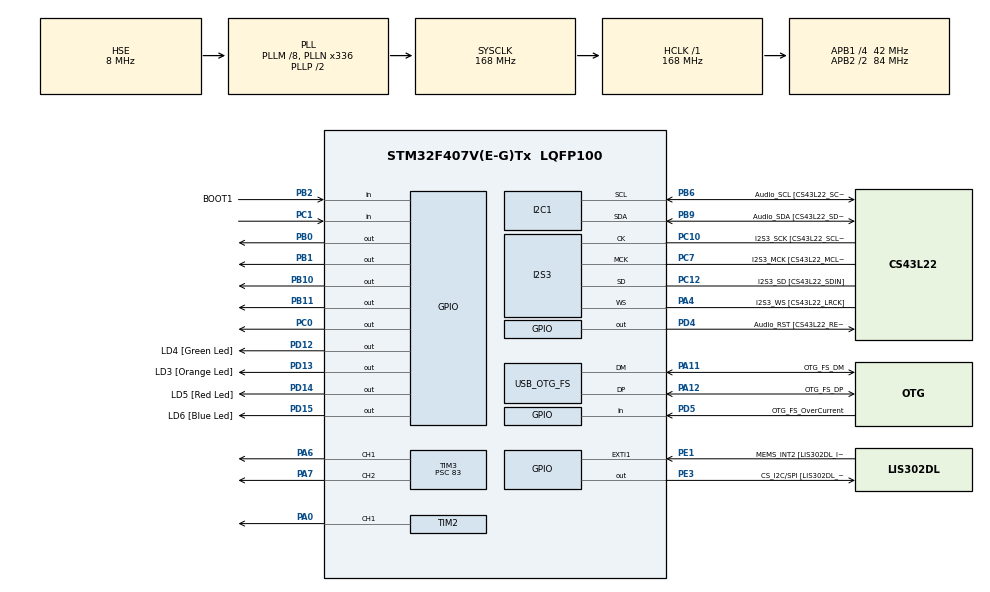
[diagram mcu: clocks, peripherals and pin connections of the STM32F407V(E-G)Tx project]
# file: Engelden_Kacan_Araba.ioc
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I2S3.AudioFreq-Half_Duplex_Master=I2S_AUDIOFREQ_96K
I2S3.ErrorAudioFreq=-2.34 %
I2S3.ErrorAudioFreq-Half_Duplex_Master=0.8 %
I2S3.FullDuplexMode=I2S_FULLDUPLEXMODE_DISABLE
I2S3.Instance=SPI$Index
I2S3.RealAudioFreq=93.75 KHz
I2S3.RealAudioFreq-Half_Duplex_Master=96.774 KHz
I2S3.VirtualMode=I2S_MODE_MASTER
Mcu.Family=STM32F4
Mcu.Name=STM32F407V(E-G)Tx
Mcu.Package=LQFP100
NVIC.OTG_FS_IRQn=true\:0\:0\:false\:false\:true\:true\:true\:true
NVIC.PriorityGroup=NVIC_PRIORITYGROUP_0
PA0-WKUP.Signal=S_TIM2_CH1_ETR
PA10.GPIO_Label=OTG_FS_ID
PA10.GPIO_Mode=GPIO_MODE_AF_PP
PA10.GPIO_PuPd=GPIO_NOPULL
PA10.GPIO_Speed=GPIO_SPEED_FREQ_LOW
PA10.Signal=USB_OTG_FS_ID
PA11.GPIO_Label=OTG_FS_DM
PA11.GPIO_Mode=GPIO_MODE_AF_PP
PA11.GPIO_PuPd=GPIO_NOPULL
PA11.GPIO_Speed=GPIO_SPEED_FREQ_LOW
PA11.Mode=Host_Only
PA11.Signal=USB_OTG_FS_DM
PA12.GPIO_Label=OTG_FS_DP
PA12.GPIO_Mode=GPIO_MODE_AF_PP
PA12.GPIO_PuPd=GPIO_NOPULL
PA12.GPIO_Speed=GPIO_SPEED_FREQ_LOW
PA12.Mode=Host_Only
PA12.Signal=USB_OTG_FS_DP
PA13.GPIO_Label=SWDIO
PA13.Mode=Serial_Wire
PA13.Signal=SYS_JTMS-SWDIO
PA14.GPIO_Label=SWCLK
PA14.Mode=Serial_Wire
PA14.Signal=SYS_JTCK-SWCLK
PA4.GPIO_Label=I2S3_WS [CS43L22_LRCK]
PA4.GPIO_Mode=GPIO_MODE_AF_PP
PA4.GPIO_PuPd=GPIO_NOPULL
PA4.GPIO_Speed=GPIO_SPEED_FREQ_LOW
PA4.Mode=Half_Duplex_Master
PA4.Signal=I2S3_WS
PA5.GPIO_Label=SPI1_SCK [LIS302DL_SCL/SPC]
PA5.GPIO_Mode=GPIO_MODE_AF_PP
PA5.GPIO_PuPd=GPIO_NOPULL
PA5.GPIO_Speed=GPIO_SPEED_FREQ_LOW
PA5.Signal=SPI1_SCK
PA6.Signal=S_TIM3_CH1
PA7.Signal=S_TIM3_CH2
PB0.GPIO_PuPd=GPIO_NOPULL
PB0.Signal=GPIO_Output
PB1.Signal=GPIO_Output
PB10.Signal=GPIO_Output
PB11.Signal=GPIO_Output
PB2.GPIO_Label=BOOT1
PB2.GPIO_Mode=GPIO_MODE_INPUT
PB2.GPIO_PuPd=GPIO_NOPULL
PB2.Signal=GPIO_Input
PB3.GPIO_Label=SWO
PB3.Signal=SYS_JTDO-SWO
PB6.GPIO_Label=Audio_SCL [CS43L22_SCL]
PB6.GPIO_Mode=GPIO_MODE_AF_OD
PB6.GPIO_Pu=GPIO_PULLUP
PB6.GPIO_PuPd=GPIO_NOPULL
PB6.GPIO_Speed=GPIO_SPEED_FREQ_LOW
PB6.Mode=I2C
PB6.Signal=I2C1_SCL
PB9.GPIO_Label=Audio_SDA [CS43L22_SDA]
PB9.GPIO_Mode=GPIO_MODE_AF_OD
PB9.GPIO_Pu=GPIO_PULLUP
PB9.GPIO_PuPd=GPIO_NOPULL
PB9.GPIO_Speed=GPIO_SPEED_FREQ_LOW
PB9.Mode=I2C
PB9.Signal=I2C1_SDA
PC0.Signal=GPIO_Output
PC1.Signal=GPIO_Input
PC10.GPIO_Label=I2S3_SCK [CS43L22_SCLK]
PC10.GPIO_Mode=GPIO_MODE_AF_PP
PC10.GPIO_PuPd=GPIO_NOPULL
PC10.GPIO_Speed=GPIO_SPEED_FREQ_LOW
PC10.Mode=Half_Duplex_Master
PC10.Signal=I2S3_CK
PC12.GPIO_Label=I2S3_SD [CS43L22_SDIN]
PC12.GPIO_Mode=GPIO_MODE_AF_PP
PC12.GPIO_PuPd=GPIO_NOPULL
PC12.GPIO_Speed=GPIO_SPEED_FREQ_LOW
PC12.Mode=Half_Duplex_Master
PC12.Signal=I2S3_SD
PC14-OSC32_IN.GPIO_Label=PC14-OSC32_IN
PC14-OSC32_IN.Mode=LSE-External-Oscillator
PC14-OSC32_IN.Signal=RCC_OSC32_IN
PC15-OSC32_OUT.GPIO_Label=PC15-OSC32_OUT
PC15-OSC32_OUT.Mode=LSE-External-Oscillator
PC15-OSC32_OUT.Signal=RCC_OSC32_OUT
PC3.GPIO_Label=PDM_OUT [MP45DT02_DOUT]
PC3.GPIO_Mode=GPIO_MODE_AF_PP
PC3.GPIO_PuPd=GPIO_NOPULL
PC3.GPIO_Speed=GPIO_SPEED_FREQ_LOW
PC3.Signal=I2S2_SD
PC7.GPIO_Label=I2S3_MCK [CS43L22_MCLK]
PC7.GPIO_Mode=GPIO_MODE_AF_PP
PC7.GPIO_PuPd=GPIO_NOPULL
PC7.GPIO_Speed=GPIO_SPEED_FREQ_LOW
PC7.Mode=Master_Clock_Activated
PC7.Signal=I2S3_MCK
PD12.GPIO_Label=LD4 [Green Led]
PD12.GPIO_PuPd=GPIO_NOPULL
PD12.GPIO_Speed=GPIO_SPEED_FREQ_LOW
PD12.Signal=GPIO_Output
PD13.GPIO_Label=LD3 [Orange Led]
PD13.GPIO_PuPd=GPIO_NOPULL
PD13.GPIO_Speed=GPIO_SPEED_FREQ_LOW
PD13.Signal=GPIO_Output
PD14.GPIO_Label=LD5 [Red Led]
PD14.GPIO_PuPd=GPIO_NOPULL
PD14.GPIO_Speed=GPIO_SPEED_FREQ_LOW
PD14.Signal=GPIO_Output
PD15.GPIO_Label=LD6 [Blue Led]
PD15.GPIO_PuPd=GPIO_NOPULL
PD15.GPIO_Speed=GPIO_SPEED_FREQ_LOW
PD15.Signal=GPIO_Output
PD4.GPIO_Label=Audio_RST [CS43L22_RESET]
PD4.GPIO_PuPd=GPIO_NOPULL
PD4.GPIO_Speed=GPIO_SPEED_FREQ_LOW
PD4.Signal=GPIO_Output
PD5.GPIO_Label=OTG_FS_OverCurrent
PD5.GPIO_Mode=GPIO_MODE_INPUT
PD5.GPIO_PuPd=GPIO_NOPULL
PD5.Signal=GPIO_Input
PE1.GPIO_Label=MEMS_INT2 [LIS302DL_INT2]
PE1.GPIO_ModeDefaultEXTI=GPIO_MODE_EVT_RISING
PE1.GPIO_PuPd=GPIO_NOPULL
PE1.Signal=GPXTI1
PE3.GPIO_Label=CS_I2C/SPI [LIS302DL_CS_I2C/SPI]
PE3.GPIO_PuPd=GPIO_NOPULL
PE3.GPIO_Speed=GPIO_SPEED_FREQ_LOW
PE3.Signal=GPIO_Output
PH0-OSC_IN.GPIO_Label=PH0-OSC_IN
PH0-OSC_IN.Mode=HSE-External-Oscillator
PH0-OSC_IN.Signal=RCC_OSC_IN
PH1-OSC_OUT.GPIO_Label=PH1-OSC_OUT
PH1-OSC_OUT.Mode=HSE-External-Oscillator
PH1-OSC_OUT.Signal=RCC_OSC_OUT
ProjectManager.HeapSize=0x200
ProjectManager.StackSize=0x400
ProjectManager.TargetToolchain=STM32CubeIDE
RCC.48MHZClocksFreq_Value=48000000
RCC.AHBFreq_Value=168000000
RCC.APB1CLKDivider=RCC_HCLK_DIV4
RCC.APB1Freq_Value=42000000
RCC.APB1TimFreq_Value=84000000
RCC.APB2CLKDivider=RCC_HCLK_DIV2
RCC.APB2Freq_Value=84000000
RCC.APB2TimFreq_Value=168000000
RCC.CortexFreq_Value=168000000
RCC.HCLKFreq_Value=168000000
RCC.HSE_VALUE=8000000
RCC.HSI_VALUE=16000000
RCC.PLLM=8
RCC.PLLN=336
RCC.PLLQ=7
RCC.SYSCLKFreq_VALUE=168000000
RCC.SYSCLKSource=RCC_SYSCLKSOURCE_PLLCLK
RCC.VCOOutputFreq_Value=336000000
SH.S_TIM2_CH1_ETR.0=TIM2_CH1,PWM Generation1 CH1
SH.S_TIM3_CH1.0=TIM3_CH1,PWM Generation1 CH1
SH.S_TIM3_CH2.0=TIM3_CH2,PWM Generation2 CH2
TIM2.Channel-PWM\ Generation1\ CH1=TIM_CHANNEL_1
TIM2.Period=20000
TIM2.Prescaler=83
TIM2.Pulse-PWM\ Generation1\ CH1=1500
TIM3.Channel-PWM\ Generation1\ CH1=TIM_CHANNEL_1
TIM3.Channel-PWM\ Generation2\ CH2=TIM_CHANNEL_2
TIM3.OCMode_PWM-PWM\ Generation2\ CH2=TIM_OCMODE_PWM2
TIM3.Period=999
TIM3.Prescaler=83
TIM3.Pulse-PWM\ Generation1\ CH1=500
TIM3.Pulse-PWM\ Generation2\ CH2=500
USB_HOST.USBH_HandleTypeDef-CDC_FS=hUsbHostFS
USB_HOST.VirtualModeFS=Cdc
USB_OTG_FS.VirtualMode=Host_Only
USB_OTG_FS.phy_itface=HCD_PHY_EMBEDDED
VP_USB_HOST_VS_USB_HOST_CDC_FS.Mode=CDC_FS
board=STM32F407G-DISC1

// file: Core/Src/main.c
/* USER CODE BEGIN Header */
/**
  ******************************************************************************
  * @file           : main.c
  * @brief          : Main program body
  ******************************************************************************
  */
#include "main.h"
#include "usb_host.h"

#define TRIG_PIN GPIO_PIN_0
#define TRIG_PORT GPIOC
#define ECHO_PIN GPIO_PIN_1
#define ECHO_PORT GPIOC

// Motor IN pinleri (L298N için)
#define IN1_PIN GPIO_PIN_0
#define IN2_PIN GPIO_PIN_1
#define IN3_PIN GPIO_PIN_10
#define IN4_PIN GPIO_PIN_11
#define IN_PORT GPIOB

// Timer ve Channel tanımları
#define SERVO_TIM &htim2
#define SERVO_CHANNEL TIM_CHANNEL_1

#define MOTORA_TIM &htim3
#define MOTORA_CHANNEL TIM_CHANNEL_1  // PA6 - ENA

#define MOTORB_TIM &htim3
#define MOTORB_CHANNEL TIM_CHANNEL_2  // PA7 - ENB

I2C_HandleTypeDef hi2c1;
I2S_HandleTypeDef hi2s3;
TIM_HandleTypeDef htim2;
TIM_HandleTypeDef htim3;

void SystemClock_Config(void);
static void MX_GPIO_Init(void);
static void MX_I2C1_Init(void);
static void MX_I2S3_Init(void);
static void MX_TIM2_Init(void);
static void MX_TIM3_Init(void);
void MX_USB_HOST_Process(void);

/* USER CODE BEGIN 0 */

// HC-SR04 tetikleme fonksiyonu
void HC_SR04_Trigger(void){
    HAL_GPIO_WritePin(TRIG_PORT, TRIG_PIN, GPIO_PIN_SET);
    HAL_Delay(0.01); // 10 us
    HAL_GPIO_WritePin(TRIG_PORT, TRIG_PIN, GPIO_PIN_RESET);
}

// HC-SR04 mesafe ölçüm fonksiyonu (DÜZELTİLMİŞ)
uint32_t HC_SR04_Read(void){
    uint32_t timeout = 0;
    uint32_t start_time = 0;
    uint32_t end_time = 0;

    HC_SR04_Trigger();

    // Echo pininin yükselmesini bekle (timeout ile)
    timeout = 100000; // Timeout süresi
    while(HAL_GPIO_ReadPin(ECHO_PORT, ECHO_PIN) == GPIO_PIN_RESET){
        if(timeout-- == 0) return 999; // Timeout durumu
    }

    start_time = HAL_GetTick(); // Başlangıç zamanı

    // Echo pininin düşmesini bekle (timeout ile)
    timeout = 100000; // Timeout süresi
    while(HAL_GPIO_ReadPin(ECHO_PORT, ECHO_PIN) == GPIO_PIN_SET){
        if(timeout-- == 0) return 999; // Timeout durumu
    }

    end_time = HAL_GetTick(); // Bitiş zamanı

    // Süreyi cm'ye çevir (yaklaşık olarak)
    // 1ms = 17 cm (340 m/s ses hızı ile)
    uint32_t duration_ms = end_time - start_time;
    return (duration_ms * 17); // cm cinsinden mesafe
}

// Motor fonksiyonları
void MotorA_Forward(void){
    HAL_GPIO_WritePin(IN_PORT, IN1_PIN, GPIO_PIN_SET);
    HAL_GPIO_WritePin(IN_PORT, IN2_PIN, GPIO_PIN_RESET);
}

void MotorA_Backward(void){
    HAL_GPIO_WritePin(IN_PORT, IN1_PIN, GPIO_PIN_RESET);
    HAL_GPIO_WritePin(IN_PORT, IN2_PIN, GPIO_PIN_SET);
}

void MotorA_Stop(void){
    HAL_GPIO_WritePin(IN_PORT, IN1_PIN, GPIO_PIN_RESET);
    HAL_GPIO_WritePin(IN_PORT, IN2_PIN, GPIO_PIN_RESET);
}

void MotorB_Forward(void){
    HAL_GPIO_WritePin(IN_PORT, IN3_PIN, GPIO_PIN_SET);
    HAL_GPIO_WritePin(IN_PORT, IN4_PIN, GPIO_PIN_RESET);
}

void MotorB_Backward(void){
    HAL_GPIO_WritePin(IN_PORT, IN3_PIN, GPIO_PIN_RESET);
    HAL_GPIO_WritePin(IN_PORT, IN4_PIN, GPIO_PIN_SET);
}

void MotorB_Stop(void){
    HAL_GPIO_WritePin(IN_PORT, IN3_PIN, GPIO_PIN_RESET);
    HAL_GPIO_WritePin(IN_PORT, IN4_PIN, GPIO_PIN_RESET);
}

// Servo pozisyon ayarı (500-2500 us pulse width)
void Servo_SetPosition(uint16_t pulse){
    __HAL_TIM_SET_COMPARE(SERVO_TIM, SERVO_CHANNEL, pulse);
}

// Motor PWM hızı ayarı (0-1000)
void Motor_SetSpeed(uint16_t dutyA, uint16_t dutyB){
    __HAL_TIM_SET_COMPARE(MOTORA_TIM, MOTORA_CHANNEL, dutyA);
    __HAL_TIM_SET_COMPARE(MOTORB_TIM, MOTORB_CHANNEL, dutyB);
}

/* USER CODE END 0 */

int main(void)
{
  HAL_Init();
  SystemClock_Config();

  MX_GPIO_Init();
  MX_I2C1_Init();
  MX_I2S3_Init();
  MX_USB_HOST_Init();
  MX_TIM2_Init();
  MX_TIM3_Init();

  // PWM başlat
  HAL_TIM_PWM_Start(SERVO_TIM, SERVO_CHANNEL);
  HAL_TIM_PWM_Start(MOTORA_TIM, MOTORA_CHANNEL);
  HAL_TIM_PWM_Start(MOTORB_TIM, MOTORB_CHANNEL);

  // Servo başlangıç pozisyonu (90° - orta nokta)
  Servo_SetPosition(1500);
  HAL_Delay(1000);

  uint8_t turn_direction = 0; // Dönüş yönü için değişken

  while (1)
  {
      MX_USB_HOST_Process();

      uint32_t distance = HC_SR04_Read(); // mesafe ölçümü

      if(distance < 20){ // 20 cm altı engel
          // Geri git
          MotorA_Backward();
          MotorB_Backward();
          Motor_SetSpeed(500, 500); // yarım hız geri
          HAL_Delay(500);

          // Dur
          MotorA_Stop();
          MotorB_Stop();
          HAL_Delay(200);

          // Dönüş yönünü değiştir (sağa veya sola)
          if(turn_direction == 0) {
              // Sağa dön
              MotorA_Forward();
              MotorB_Backward();
              Motor_SetSpeed(700, 700);
              turn_direction = 1;
          } else {
              // Sola dön
              MotorA_Backward();
              MotorB_Forward();
              Motor_SetSpeed(700, 700);
              turn_direction = 0;
          }
          HAL_Delay(300);

      } else {
          // Düz ileri
          MotorA_Forward();
          MotorB_Forward();
          Motor_SetSpeed(700, 700); // ileri hız
      }

      HAL_Delay(100);
  }
}

void SystemClock_Config(void)
{
  RCC_OscInitTypeDef RCC_OscInitStruct = {0};
  RCC_ClkInitTypeDef RCC_ClkInitStruct = {0};

  /** Configure the main internal regulator output voltage */
  __HAL_RCC_PWR_CLK_ENABLE();
  __HAL_PWR_VOLTAGESCALING_CONFIG(PWR_REGULATOR_VOLTAGE_SCALE1);

  /** Initializes the RCC Oscillators according to the specified parameters
  * in the RCC_OscInitTypeDef structure.
  */
  RCC_OscInitStruct.OscillatorType = RCC_OSCILLATORTYPE_HSE;
  RCC_OscInitStruct.HSEState = RCC_HSE_ON;
  RCC_OscInitStruct.PLL.PLLState = RCC_PLL_ON;
  RCC_OscInitStruct.PLL.PLLSource = RCC_PLLSOURCE_HSE;
  RCC_OscInitStruct.PLL.PLLM = 8;
  RCC_OscInitStruct.PLL.PLLN = 336;
  RCC_OscInitStruct.PLL.PLLP = RCC_PLLP_DIV2;
  RCC_OscInitStruct.PLL.PLLQ = 7;
  if (HAL_RCC_OscConfig(&RCC_OscInitStruct) != HAL_OK)
  {
    Error_Handler();
  }

  /** Initializes the CPU, AHB and APB buses clocks */
  RCC_ClkInitStruct.ClockType = RCC_CLOCKTYPE_HCLK|RCC_CLOCKTYPE_SYSCLK
                              |RCC_CLOCKTYPE_PCLK1|RCC_CLOCKTYPE_PCLK2;
  RCC_ClkInitStruct.SYSCLKSource = RCC_SYSCLKSOURCE_PLLCLK;
  RCC_ClkInitStruct.AHBCLKDivider = RCC_SYSCLK_DIV1;
  RCC_ClkInitStruct.APB1CLKDivider = RCC_HCLK_DIV4;
  RCC_ClkInitStruct.APB2CLKDivider = RCC_HCLK_DIV2;

  if (HAL_RCC_ClockConfig(&RCC_ClkInitStruct, FLASH_LATENCY_5) != HAL_OK)
  {
    Error_Handler();
  }
}
static void MX_I2C1_Init(void)
{

  hi2c1.Instance = I2C1;
  hi2c1.Init.ClockSpeed = 100000;
  hi2c1.Init.DutyCycle = I2C_DUTYCYCLE_2;
  hi2c1.Init.OwnAddress1 = 0;
  hi2c1.Init.AddressingMode = I2C_ADDRESSINGMODE_7BIT;
  hi2c1.Init.DualAddressMode = I2C_DUALADDRESS_DISABLE;
  hi2c1.Init.OwnAddress2 = 0;
  hi2c1.Init.GeneralCallMode = I2C_GENERALCALL_DISABLE;
  hi2c1.Init.NoStretchMode = I2C_NOSTRETCH_DISABLE;
  if (HAL_I2C_Init(&hi2c1) != HAL_OK)
  {
    Error_Handler();
  }

}

static void MX_I2S3_Init(void)
{

  hi2s3.Instance = SPI3;
  hi2s3.Init.Mode = I2S_MODE_MASTER_TX;
  hi2s3.Init.Standard = I2S_STANDARD_PHILIPS;
  hi2s3.Init.DataFormat = I2S_DATAFORMAT_16B;
  hi2s3.Init.MCLKOutput = I2S_MCLKOUTPUT_ENABLE;
  hi2s3.Init.AudioFreq = I2S_AUDIOFREQ_96K;
  hi2s3.Init.CPOL = I2S_CPOL_LOW;
  hi2s3.Init.ClockSource = I2S_CLOCK_PLL;
  hi2s3.Init.FullDuplexMode = I2S_FULLDUPLEXMODE_DISABLE;
  if (HAL_I2S_Init(&hi2s3) != HAL_OK)
  {
    Error_Handler();
  }

}

static void MX_TIM2_Init(void)
{

  TIM_MasterConfigTypeDef sMasterConfig = {0};
  TIM_OC_InitTypeDef sConfigOC = {0};

  htim2.Instance = TIM2;
  htim2.Init.Prescaler = 83;
  htim2.Init.CounterMode = TIM_COUNTERMODE_UP;
  htim2.Init.Period = 20000;
  htim2.Init.ClockDivision = TIM_CLOCKDIVISION_DIV1;
  htim2.Init.AutoReloadPreload = TIM_AUTORELOAD_PRELOAD_DISABLE;
  if (HAL_TIM_PWM_Init(&htim2) != HAL_OK)
  {
    Error_Handler();
  }
  sMasterConfig.MasterOutputTrigger = TIM_TRGO_RESET;
  sMasterConfig.MasterSlaveMode = TIM_MASTERSLAVEMODE_DISABLE;
  if (HAL_TIMEx_MasterConfigSynchronization(&htim2, &sMasterConfig) != HAL_OK)
  {
    Error_Handler();
  }
  sConfigOC.OCMode = TIM_OCMODE_PWM1;
  sConfigOC.Pulse = 1500;
  sConfigOC.OCPolarity = TIM_OCPOLARITY_HIGH;
  sConfigOC.OCFastMode = TIM_OCFAST_DISABLE;
  if (HAL_TIM_PWM_ConfigChannel(&htim2, &sConfigOC, TIM_CHANNEL_1) != HAL_OK)
  {
    Error_Handler();
  }
  HAL_TIM_MspPostInit(&htim2);

}

static void MX_TIM3_Init(void)
{

  TIM_MasterConfigTypeDef sMasterConfig = {0};
  TIM_OC_InitTypeDef sConfigOC = {0};

  htim3.Instance = TIM3;
  htim3.Init.Prescaler = 83;
  htim3.Init.CounterMode = TIM_COUNTERMODE_UP;
  htim3.Init.Period = 999;
  htim3.Init.ClockDivision = TIM_CLOCKDIVISION_DIV1;
  htim3.Init.AutoReloadPreload = TIM_AUTORELOAD_PRELOAD_DISABLE;
  if (HAL_TIM_PWM_Init(&htim3) != HAL_OK)
  {
    Error_Handler();
  }
  sMasterConfig.MasterOutputTrigger = TIM_TRGO_RESET;
  sMasterConfig.MasterSlaveMode = TIM_MASTERSLAVEMODE_DISABLE;
  if (HAL_TIMEx_MasterConfigSynchronization(&htim3, &sMasterConfig) != HAL_OK)
  {
    Error_Handler();
  }
  sConfigOC.OCMode = TIM_OCMODE_PWM1;
  sConfigOC.Pulse = 500;
  sConfigOC.OCPolarity = TIM_OCPOLARITY_HIGH;
  sConfigOC.OCFastMode = TIM_OCFAST_DISABLE;
  if (HAL_TIM_PWM_ConfigChannel(&htim3, &sConfigOC, TIM_CHANNEL_1) != HAL_OK)
  {
    Error_Handler();
  }
  sConfigOC.OCMode = TIM_OCMODE_PWM2;
  if (HAL_TIM_PWM_ConfigChannel(&htim3, &sConfigOC, TIM_CHANNEL_2) != HAL_OK)
  {
    Error_Handler();
  }
  HAL_TIM_MspPostInit(&htim3);

}

static void MX_GPIO_Init(void)
{
  GPIO_InitTypeDef GPIO_InitStruct = {0};

  /* GPIO Ports Clock Enable */
  __HAL_RCC_GPIOE_CLK_ENABLE();
  __HAL_RCC_GPIOC_CLK_ENABLE();
  __HAL_RCC_GPIOH_CLK_ENABLE();
  __HAL_RCC_GPIOA_CLK_ENABLE();
  __HAL_RCC_GPIOB_CLK_ENABLE();
  __HAL_RCC_GPIOD_CLK_ENABLE();

  /*Configure GPIO pin Output Level */
  HAL_GPIO_WritePin(CS_I2C_SPI_GPIO_Port, CS_I2C_SPI_Pin, GPIO_PIN_RESET);

  /*Configure GPIO pin Output Level */
  HAL_GPIO_WritePin(GPIOC, GPIO_PIN_0, GPIO_PIN_RESET);

  /*Configure GPIO pin Output Level */
  HAL_GPIO_WritePin(GPIOB, GPIO_PIN_0|GPIO_PIN_1|GPIO_PIN_10|GPIO_PIN_11, GPIO_PIN_RESET);

  /*Configure GPIO pin Output Level */
  HAL_GPIO_WritePin(GPIOD, LD4_Pin|LD3_Pin|LD5_Pin|LD6_Pin
                          |Audio_RST_Pin, GPIO_PIN_RESET);

  /*Configure GPIO pin : CS_I2C_SPI_Pin */
  GPIO_InitStruct.Pin = CS_I2C_SPI_Pin;
  GPIO_InitStruct.Mode = GPIO_MODE_OUTPUT_PP;
  GPIO_InitStruct.Pull = GPIO_NOPULL;
  GPIO_InitStruct.Speed = GPIO_SPEED_FREQ_LOW;
  HAL_GPIO_Init(CS_I2C_SPI_GPIO_Port, &GPIO_InitStruct);

  /*Configure GPIO pin : PC0 */
  GPIO_InitStruct.Pin = GPIO_PIN_0;
  GPIO_InitStruct.Mode = GPIO_MODE_OUTPUT_PP;
  GPIO_InitStruct.Pull = GPIO_NOPULL;
  GPIO_InitStruct.Speed = GPIO_SPEED_FREQ_LOW;
  HAL_GPIO_Init(GPIOC, &GPIO_InitStruct);

  /*Configure GPIO pin : PC1 */
  GPIO_InitStruct.Pin = GPIO_PIN_1;
  GPIO_InitStruct.Mode = GPIO_MODE_INPUT;
  GPIO_InitStruct.Pull = GPIO_NOPULL;
  HAL_GPIO_Init(GPIOC, &GPIO_InitStruct);

  /*Configure GPIO pin : PDM_OUT_Pin */
  GPIO_InitStruct.Pin = PDM_OUT_Pin;
  GPIO_InitStruct.Mode = GPIO_MODE_AF_PP;
  GPIO_InitStruct.Pull = GPIO_NOPULL;
  GPIO_InitStruct.Speed = GPIO_SPEED_FREQ_LOW;
  GPIO_InitStruct.Alternate = GPIO_AF5_SPI2;
  HAL_GPIO_Init(PDM_OUT_GPIO_Port, &GPIO_InitStruct);

  /*Configure GPIO pin : SPI1_SCK_Pin */
  GPIO_InitStruct.Pin = SPI1_SCK_Pin;
  GPIO_InitStruct.Mode = GPIO_MODE_AF_PP;
  GPIO_InitStruct.Pull = GPIO_NOPULL;
  GPIO_InitStruct.Speed = GPIO_SPEED_FREQ_LOW;
  GPIO_InitStruct.Alternate = GPIO_AF5_SPI1;
  HAL_GPIO_Init(SPI1_SCK_GPIO_Port, &GPIO_InitStruct);

  /*Configure GPIO pins : PB0 PB1 PB10 PB11 */
  GPIO_InitStruct.Pin = GPIO_PIN_0|GPIO_PIN_1|GPIO_PIN_10|GPIO_PIN_11;
  GPIO_InitStruct.Mode = GPIO_MODE_OUTPUT_PP;
  GPIO_InitStruct.Pull = GPIO_NOPULL;
  GPIO_InitStruct.Speed = GPIO_SPEED_FREQ_LOW;
  HAL_GPIO_Init(GPIOB, &GPIO_InitStruct);

  /*Configure GPIO pin : BOOT1_Pin */
  GPIO_InitStruct.Pin = BOOT1_Pin;
  GPIO_InitStruct.Mode = GPIO_MODE_INPUT;
  GPIO_InitStruct.Pull = GPIO_NOPULL;
  HAL_GPIO_Init(BOOT1_GPIO_Port, &GPIO_InitStruct);

  /*Configure GPIO pins : LD4_Pin LD3_Pin LD5_Pin LD6_Pin
                           Audio_RST_Pin */
  GPIO_InitStruct.Pin = LD4_Pin|LD3_Pin|LD5_Pin|LD6_Pin
                          |Audio_RST_Pin;
  GPIO_InitStruct.Mode = GPIO_MODE_OUTPUT_PP;
  GPIO_InitStruct.Pull = GPIO_NOPULL;
  GPIO_InitStruct.Speed = GPIO_SPEED_FREQ_LOW;
  HAL_GPIO_Init(GPIOD, &GPIO_InitStruct);

  /*Configure GPIO pin : OTG_FS_OverCurrent_Pin */
  GPIO_InitStruct.Pin = OTG_FS_OverCurrent_Pin;
  GPIO_InitStruct.Mode = GPIO_MODE_INPUT;
  GPIO_InitStruct.Pull = GPIO_NOPULL;
  HAL_GPIO_Init(OTG_FS_OverCurrent_GPIO_Port, &GPIO_InitStruct);

  /*Configure GPIO pin : MEMS_INT2_Pin */
  GPIO_InitStruct.Pin = MEMS_INT2_Pin;
  GPIO_InitStruct.Mode = GPIO_MODE_EVT_RISING;
  GPIO_InitStruct.Pull = GPIO_NOPULL;
  HAL_GPIO_Init(MEMS_INT2_GPIO_Port, &GPIO_InitStruct);

}

void Error_Handler(void)
{
  __disable_irq();
  while (1)
  {
  }
}
